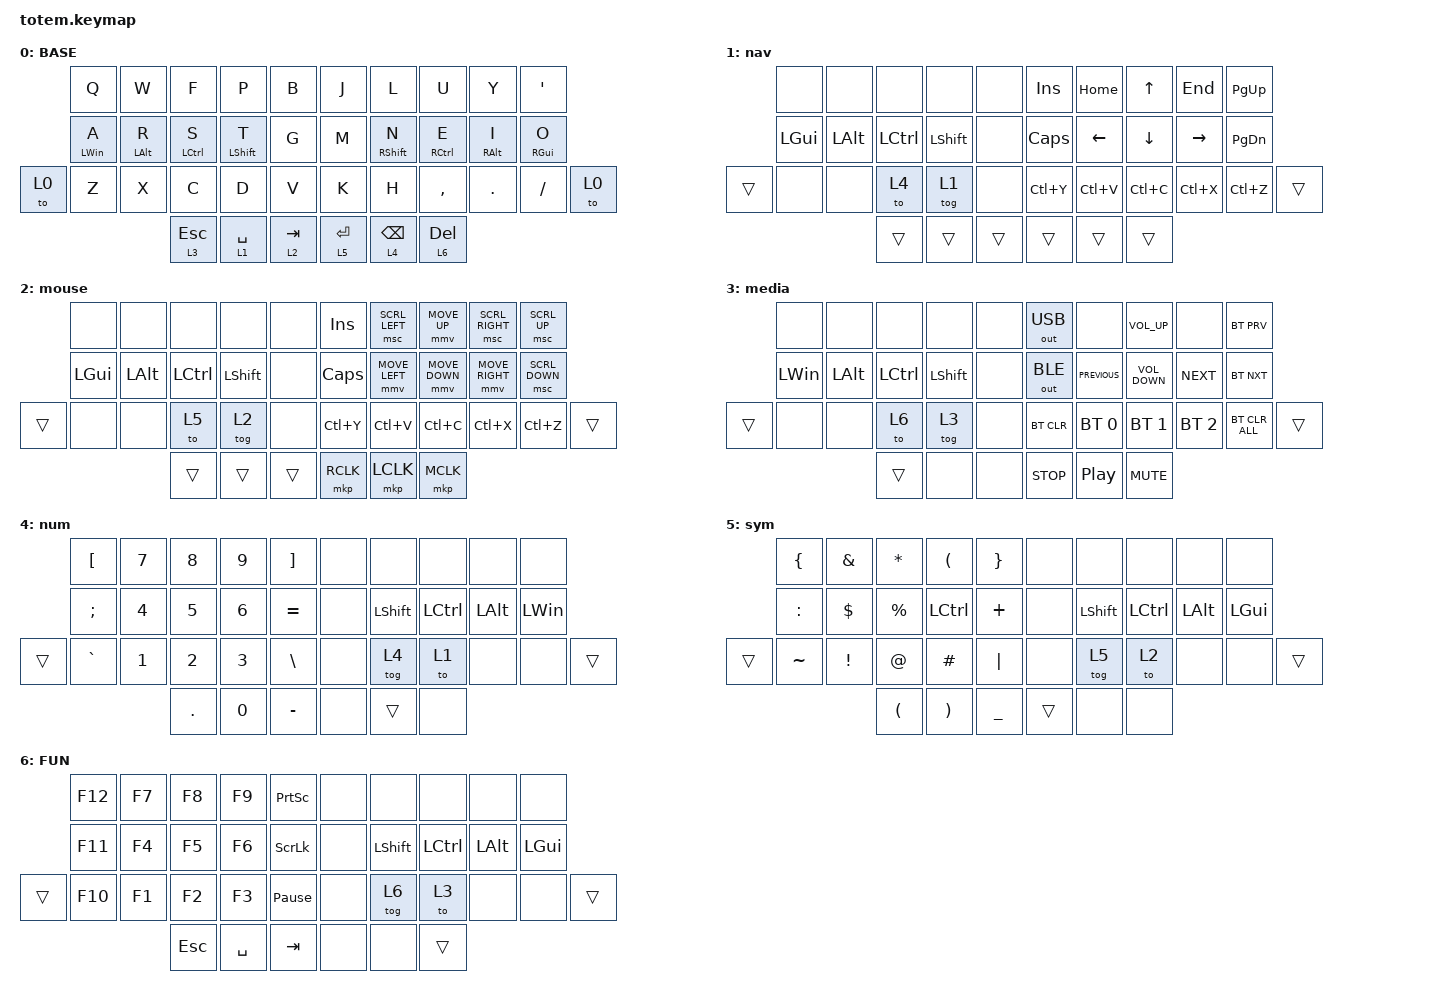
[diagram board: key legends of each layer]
//
//                                                        ▀▀▀▀▀     ▀▀▀▀▀          ▀▀█▀▀
//                                                        ▄▀▀▀▄  ▄  ▄▀▀▀▄  ▄  ▄▀▀▀▄  █  ▄▀▀▀▄
//                                                        █   █  █  █   █  █  █   █  █  █   █
//                                                         ▀▀▀   █   ▀▀▀   █   ▀▀▀   ▀   ▀▀▀
//                                                               █      ▄▄▄█▄▄▄    █   █  
//                                                               ▀      █  █  █     █▄█
//                                                             ▀▀▀▀▀    █  █  █      ▀
//                                                                      ▀  ▀  ▀
//
// ▄▄▄▄▄▄▄▄▄▄▄▄▄▄▄▄▄▄▄▄▄▄▄▄▄▄▄▄▄▄▄▄▄▄▄▄▄▄▄▄▄▄▄▄▄▄▄▄▄▄▄▄▄▄▄▄▄▄▄▄▄▄▄▄▄▄▄▄▄▄▄▄▄▄▄▄▄▄▄▄▄▄▄▄▄▄▄▄▄▄▄▄▄▄▄▄▄▄▄▄▄▄▄▄▄▄▄▄▄▄▄▄▄▄▄▄▄▄▄▄▄▄▄▄▄▄▄▄▄▄▄▄▄▄▄▄▄▄▄▄▄▄▄▄▄▄▄▄▄

#include <behaviors.dtsi>
#include <dt-bindings/zmk/bt.h>
#include <dt-bindings/zmk/keys.h>
#include <dt-bindings/zmk/outputs.h>
#include <dt-bindings/zmk/pointing.h>

#define BASE 0
#define NAV  1
#define SYM  2
#define ADJ  3
#define TVP1 4
#define TVP2 5

&mt {
    require-prior-idle-ms = <150>;
    flavor = "tap-preferred";
    tapping-term-ms = <175>;
};

/ {
    combos {
        compatible = "zmk,combos";

        combo_esc {
            timeout-ms = <50>;
            key-positions = <0 1>;
            bindings = <&kp ESC>;
        };

        combo_pgup {
            bindings = <&kp PG_UP>;
            key-positions = <16 17>;
        };

        combo_pgdn {
            bindings = <&kp PAGE_DOWN>;
            key-positions = <18 17>;
        };
    };

    keymap {
        compatible = "zmk,keymap";

        // ▄▄▄▄▄▄▄▄▄▄▄▄▄▄▄▄▄▄▄▄▄▄▄▄▄▄▄▄▄▄▄▄▄▄▄▄▄▄▄▄▄▄▄▄▄▄▄▄▄▄▄▄▄▄▄▄▄▄▄▄▄▄▄▄▄▄▄▄▄▄▄▄▄▄▄▄▄▄▄▄▄▄▄▄▄▄▄▄▄▄▄▄▄▄▄▄▄▄▄▄▄▄▄▄▄▄▄▄▄▄▄▄▄▄▄▄▄▄▄▄▄▄▄▄▄▄▄▄▄▄▄▄▄▄▄▄▄▄▄▄▄▄▄▄▄▄▄▄▄

        base {
            // ┏━━━━━━━━━━━━━━━━━━━━━━━━━━━━━━━━━━━━━━━┓

            label = "BASE";

            // ┗━━━━━━━━━━━━━━━━━━━━━━━━━━━━━━━━━━━━━━━┛
            //             ┏━━━━━━━━━━━┳━━━━━━━━━━━┳━━━━━━━━━━━┳━━━━━━━━━━━┳━━━━━━━━━━━┓   ┏━━━━━━━━━━━┳━━━━━━━━━━━┳━━━━━━━━━━━┳━━━━━━━━━━━┳━━━━━━━━━━━┓
            //             ┃     Q     ┃     W     ┃     F     ┃     P     ┃     G     ┃   ┃     J     ┃     L     ┃     U     ┃     Y     ┃     ;     ┃
            //             ┣━━━━━━━━━━━╋━━━━━━━━━━━╋━━━━━━━━━━━╋━━━━━━━━━━━╋━━━━━━━━━━━┫   ┣━━━━━━━━━━━╋━━━━━━━━━━━╋━━━━━━━━━━━╋━━━━━━━━━━━╋━━━━━━━━━━━┫
            //             ┃     A     ┃     R     ┃     S     ┃     T     ┃     D     ┃   ┃     H     ┃     N     ┃     E     ┃     I     ┃     O     ┃
            // ┏━━━━━━━━━━━╋━━━━━━━━━━━╋━━━━━━━━━━━╋━━━━━━━━━━━╋━━━━━━━━━━━╋━━━━━━━━━━━┫   ┣━━━━━━━━━━━╋━━━━━━━━━━━╋━━━━━━━━━━━╋━━━━━━━━━━━╋━━━━━━━━━━━╋━━━━━━━━━━━┓
            // ┃     Q     ┃     Z     ┃     X     ┃     C     ┃     V     ┃     B     ┃   ┃     K     ┃     M     ┃     ,     ┃     .     ┃     /     ┃     \     ┃
            // ┗━━━━━━━━━━━┻━━━━━━━━━━━┻━━━━━━━━━━━╋━━━━━━━━━━━╋━━━━━━━━━━━╋━━━━━━━━━━━┫   ┣━━━━━━━━━━━╋━━━━━━━━━━━╋━━━━━━━━━━━╋━━━━━━━━━━━┻━━━━━━━━━━━┻━━━━━━━━━━━┛
            //                                     ┃    DEL    ┃    TAB    ┃    SPC    ┃   ┃   ENTER   ┃           ┃   BSPC    ┃
            //                                     ┗━━━━━━━━━━━┻━━━━━━━━━━━┻━━━━━━━━━━━┛   ┗━━━━━━━━━━━┻━━━━━━━━━━━┻━━━━━━━━━━━┛

            bindings = <
       &kp Q           &kp W           &kp F               &kp P        &kp B        &kp J        &kp L            &kp U                &kp Y            &kp SINGLE_QUOTE
       &mt LEFT_WIN A  &mt LEFT_ALT R  &mt LEFT_CONTROL S  &mt LSHFT T  &kp G        &kp M        &mt RSHFT N      &mt RIGHT_CONTROL E  &mt RIGHT_ALT I  &mt RIGHT_GUI O
&to 0  &kp Z           &kp X           &kp C               &kp D        &kp V        &kp K        &kp H            &kp COMMA            &kp DOT          &kp SLASH         &to 0
                                       &lt 3 ESCAPE        &lt 1 SPACE  &lt 2 TAB    &lt 5 ENTER  &lt 4 BACKSPACE  &lt 6 DELETE
            >;
        };

        nav {
            label = "nav";
            bindings = <
        &none         &none         &none             &none           &none     &kp INSERT  &kp HOME        &kp UP_ARROW    &kp END          &kp PAGE_UP
        &kp LEFT_GUI  &kp LEFT_ALT  &kp LEFT_CONTROL  &kp LEFT_SHIFT  &none     &kp CAPS    &kp LEFT_ARROW  &kp DOWN_ARROW  &kp RIGHT_ARROW  &kp PAGE_DOWN
&trans  &none         &none         &to 4             &tog 1          &none     &kp LC(Y)   &kp LC(V)       &kp LC(C)       &kp LC(X)        &kp LC(Z)      &trans
                                    &trans            &trans          &trans    &trans      &trans          &trans
            >;
        };

        mouse {
            label = "mouse";
            bindings = <
        &none         &none         &none             &none           &none     &kp INSERT  &msc SCRL_LEFT  &mmv MOVE_UP    &msc SCRL_RIGHT  &msc SCRL_UP
        &kp LEFT_GUI  &kp LEFT_ALT  &kp LEFT_CONTROL  &kp LEFT_SHIFT  &none     &kp CAPS    &mmv MOVE_LEFT  &mmv MOVE_DOWN  &mmv MOVE_RIGHT  &msc SCRL_DOWN
&trans  &none         &none         &to 5             &tog 2          &none     &kp LC(Y)   &kp LC(V)       &kp LC(C)       &kp LC(X)        &kp LC(Z)       &trans
                                    &trans            &trans          &trans    &mkp RCLK   &mkp LCLK       &mkp MCLK
            >;
        };

        media {
            bindings = <
        &none         &none         &none             &none           &none    &out OUT_USB  &none             &kp C_VOLUME_UP    &none         &bt BT_PRV
        &kp LEFT_WIN  &kp LEFT_ALT  &kp LEFT_CONTROL  &kp LEFT_SHIFT  &none    &out OUT_BLE  &kp C_PREVIOUS    &kp C_VOLUME_DOWN  &kp C_NEXT    &bt BT_NXT
&trans  &none         &none         &to 6             &tog 3          &none    &bt BT_CLR    &bt BT_SEL 0      &bt BT_SEL 1       &bt BT_SEL 2  &bt BT_CLR_ALL  &trans
                                    &trans            &none           &none    &kp C_STOP    &kp C_PLAY_PAUSE  &kp C_MUTE
            >;

            label = "media";
        };

        num {
            // ┏━━━━━━━━━━━━━━━━━━━━━━━━━━━━━━━━━━━━━━━┓

            label = "num";

            // ┗━━━━━━━━━━━━━━━━━━━━━━━━━━━━━━━━━━━━━━━┛
            //             ┏━━━━━━━━━━━┳━━━━━━━━━━━┳━━━━━━━━━━━┳━━━━━━━━━━━┳━━━━━━━━━━━┓   ┏━━━━━━━━━━━┳━━━━━━━━━━━┳━━━━━━━━━━━┳━━━━━━━━━━━┳━━━━━━━━━━━┓
            //             ┃     !     ┃     @     ┃     #     ┃     $     ┃     %     ┃   ┃     ˆ     ┃     &     ┃     Ü     ┃     '     ┃     "     ┃
            //             ┣━━━━━━━━━━━╋━━━━━━━━━━━╋━━━━━━━━━━━╋━━━━━━━━━━━╋━━━━━━━━━━━┫   ┣━━━━━━━━━━━╋━━━━━━━━━━━╋━━━━━━━━━━━╋━━━━━━━━━━━╋━━━━━━━━━━━┫
            //             ┃     Ä     ┃           ┃    SZ     ┃           ┃           ┃   ┃   MUTE    ┃   YEN     ┃   EURO    ┃  POUND    ┃     Ö     ┃
            // ┏━━━━━━━━━━━╋━━━━━━━━━━━╋━━━━━━━━━━━╋━━━━━━━━━━━╋━━━━━━━━━━━╋━━━━━━━━━━━┫   ┣━━━━━━━━━━━╋━━━━━━━━━━━╋━━━━━━━━━━━╋━━━━━━━━━━━╋━━━━━━━━━━━╋━━━━━━━━━━━┓
            // ┃           ┃  EMAIL1   ┃  EMAIL2   ┃           ┃           ┃           ┃   ┃   VOL-    ┃   VOL+    ┃   LAST    ┃   NEXT    ┃     \     ┃           ┃
            // ┗━━━━━━━━━━━┻━━━━━━━━━━━┻━━━━━━━━━━━╋━━━━━━━━━━━╋━━━━━━━━━━━╋━━━━━━━━━━━┫   ┣━━━━━━━━━━━╋━━━━━━━━━━━╋━━━━━━━━━━━╋━━━━━━━━━━━┻━━━━━━━━━━━┻━━━━━━━━━━━┛
            //                                     ┃           ┃    GIF    ┃    ADJ    ┃   ┃           ┃           ┃           ┃
            //                                     ┗━━━━━━━━━━━┻━━━━━━━━━━━┻━━━━━━━━━━━┛   ┗━━━━━━━━━━━┻━━━━━━━━━━━┻━━━━━━━━━━━┛

            bindings = <
        &kp LEFT_BRACKET  &kp NUMBER_7  &kp NUMBER_8  &kp NUMBER_9  &kp RIGHT_BRACKET    &none  &none           &none             &none         &none
        &kp SEMICOLON     &kp NUMBER_4  &kp NUMBER_5  &kp NUMBER_6  &kp EQUAL            &none  &kp LEFT_SHIFT  &kp LEFT_CONTROL  &kp LEFT_ALT  &kp LEFT_WIN
&trans  &kp GRAVE         &kp NUMBER_1  &kp NUMBER_2  &kp NUMBER_3  &kp BACKSLASH        &none  &tog 4          &to 1             &none         &none         &trans
                                        &kp PERIOD    &kp NUMBER_0  &kp MINUS            &none  &trans          &none
            >;
        };

        sym {
            label = "sym";
            bindings = <
        &kp LEFT_BRACE  &kp AMPERSAND    &kp ASTERISK          &kp LEFT_PARENTHESIS   &kp RIGHT_BRACE    &none   &none           &none             &none         &none
        &kp COLON       &kp DOLLAR       &kp PERCENT           &kp LCTRL              &kp PLUS           &none   &kp LEFT_SHIFT  &kp LEFT_CONTROL  &kp LEFT_ALT  &kp LEFT_GUI
&trans  &kp TILDE       &kp EXCLAMATION  &kp AT_SIGN           &kp POUND              &kp PIPE           &none   &tog 5          &to 2             &none         &none         &trans
                                         &kp LEFT_PARENTHESIS  &kp RIGHT_PARENTHESIS  &kp UNDERSCORE     &trans  &none           &none
            >;
        };

        fun {
            // ┏━━━━━━━━━━━━━━━━━━━━━━━━━━━━━━━━━━━━━━━┓

            label = "FUN";

            // ┗━━━━━━━━━━━━━━━━━━━━━━━━━━━━━━━━━━━━━━━┛
            //             ┏━━━━━━━━━━━┳━━━━━━━━━━━┳━━━━━━━━━━━┳━━━━━━━━━━━┳━━━━━━━━━━━┓   ┏━━━━━━━━━━━┳━━━━━━━━━━━┳━━━━━━━━━━━┳━━━━━━━━━━━┳━━━━━━━━━━━┓
            //             ┃   RESET   ┃ BT CLEAR  ┃  OUT TOG  ┃           ┃           ┃   ┃           ┃    F7     ┃    F8     ┃    F9     ┃    F12    ┃
            //             ┣━━━━━━━━━━━╋━━━━━━━━━━━╋━━━━━━━━━━━╋━━━━━━━━━━━╋━━━━━━━━━━━┫   ┣━━━━━━━━━━━╋━━━━━━━━━━━╋━━━━━━━━━━━╋━━━━━━━━━━━╋━━━━━━━━━━━┫
            //             ┃ BOOTLOAD  ┃ BT NEXT   ┃           ┃           ┃           ┃   ┃           ┃    F4     ┃    F5     ┃    F6     ┃    F11    ┃
            // ┏━━━━━━━━━━━╋━━━━━━━━━━━╋━━━━━━━━━━━╋━━━━━━━━━━━╋━━━━━━━━━━━╋━━━━━━━━━━━┫   ┣━━━━━━━━━━━╋━━━━━━━━━━━╋━━━━━━━━━━━╋━━━━━━━━━━━╋━━━━━━━━━━━╋━━━━━━━━━━━┓
            // ┃           ┃           ┃ BT PREV   ┃           ┃           ┃           ┃   ┃           ┃    F1     ┃    F2     ┃    F3     ┃    F10    ┃           ┃
            // ┗━━━━━━━━━━━┻━━━━━━━━━━━┻━━━━━━━━━━━╋━━━━━━━━━━━╋━━━━━━━━━━━╋━━━━━━━━━━━┫   ┣━━━━━━━━━━━╋━━━━━━━━━━━╋━━━━━━━━━━━╋━━━━━━━━━━━┻━━━━━━━━━━━┻━━━━━━━━━━━┛
            //                                     ┃           ┃           ┃           ┃   ┃           ┃           ┃           ┃
            //                                     ┗━━━━━━━━━━━┻━━━━━━━━━━━┻━━━━━━━━━━━┛   ┗━━━━━━━━━━━┻━━━━━━━━━━━┻━━━━━━━━━━━┛

            bindings = <
        &kp F12  &kp F7  &kp F8      &kp F9     &kp PRINTSCREEN    &none  &none           &none             &none         &none
        &kp F11  &kp F4  &kp F5      &kp F6     &kp SCROLLLOCK     &none  &kp LEFT_SHIFT  &kp LEFT_CONTROL  &kp LEFT_ALT  &kp LEFT_GUI
&trans  &kp F10  &kp F1  &kp F2      &kp F3     &kp PAUSE_BREAK    &none  &tog 6          &to 3             &none         &none         &trans
                         &kp ESCAPE  &kp SPACE  &kp TAB            &none  &none           &trans
            >;
        };

        // ▄▄▄▄▄▄▄▄▄▄▄▄▄▄▄▄▄▄▄▄▄▄▄▄▄▄▄▄▄▄▄▄▄▄▄▄▄▄▄▄▄▄▄▄▄▄▄▄▄▄▄▄▄▄▄▄▄▄▄▄▄▄▄▄▄▄▄▄▄▄▄▄▄▄▄▄▄▄▄▄▄▄▄▄▄▄▄▄▄▄▄▄▄▄▄▄▄▄▄▄▄▄▄▄▄▄▄▄▄▄▄▄▄▄▄▄▄▄▄▄▄▄▄▄▄▄▄▄▄▄▄▄▄▄▄▄▄▄▄▄▄▄▄▄▄▄▄▄▄
        // ▄▄▄▄▄▄▄▄▄▄▄▄▄▄▄▄▄▄▄▄▄▄▄▄▄▄▄▄▄▄▄▄▄▄▄▄▄▄▄▄▄▄▄▄▄▄▄▄▄▄▄▄▄▄▄▄▄▄▄▄▄▄▄▄▄▄▄▄▄▄▄▄▄▄▄▄▄▄▄▄▄▄▄▄▄▄▄▄▄▄▄▄▄▄▄▄▄▄▄▄▄▄▄▄▄▄▄▄▄▄▄▄▄▄▄▄▄▄▄▄▄▄▄▄▄▄▄▄▄▄▄▄▄▄▄▄▄▄▄▄▄▄▄▄▄▄▄▄▄
    };

    conditional_layers { compatible = "zmk,conditional-layers"; };
};
